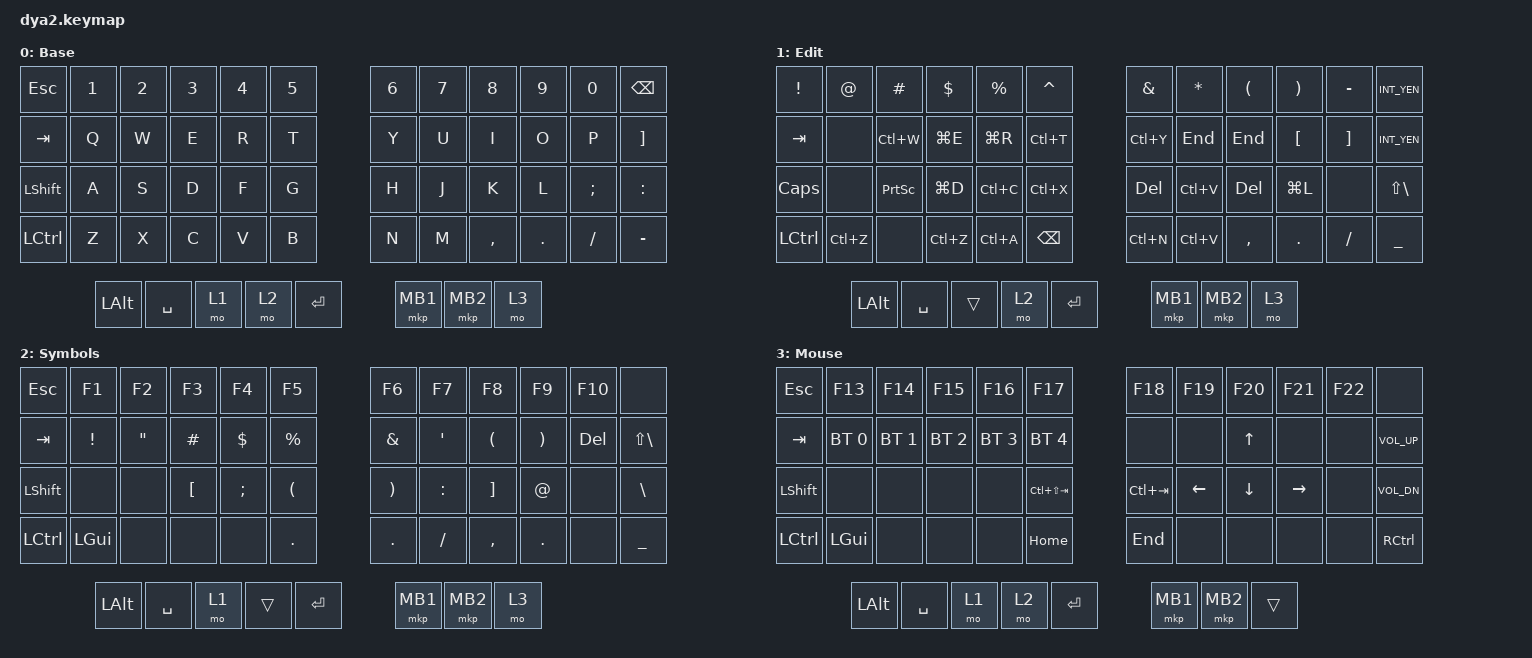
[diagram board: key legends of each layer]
#include <behaviors.dtsi>
#include <dt-bindings/zmk/bt.h>
#include <dt-bindings/zmk/keys.h>
#include <dt-bindings/zmk/mouse.h>

/ {
    keymap {
        compatible = "zmk,keymap";

        layer_0 {
            display-name = "Base";
            bindings = <
                &kp ESC    &kp N1 &kp N2 &kp N3 &kp N4 &kp N5      &kp N6 &kp N7 &kp N8 &kp N9 &kp N0 &kp BACKSPACE
                &kp TAB    &kp Q  &kp W  &kp E  &kp R  &kp T       &kp Y  &kp U  &kp I  &kp O  &kp P  &kp RBKT
                &kp LSHIFT &kp A  &kp S  &kp D  &kp F  &kp G       &kp H  &kp J  &kp K  &kp L  &kp SEMI &kp COLON
                &kp LCTRL  &kp Z  &kp X  &kp C  &kp V  &kp B       &kp N  &kp M  &kp COMMA &kp DOT &kp FSLH &kp MINUS

                           &kp LALT &kp SPACE &mo 1 &mo 2 &kp ENTER  &mkp MB1 &mkp MB2 &mo 3
            >;
        };

        layer_1 {
            display-name = "Edit";
            bindings = <
                &kp EXCL  &kp AT &kp HASH &kp DLLR &kp PRCNT &kp CARET       &kp AMPS &kp ASTERISK &kp LPAR &kp RPAR &kp MINUS &kp INT_YEN
                &kp TAB   &none &kp LC(W) &kp LG(E) &kp LG(R) &kp LC(T)      &kp LC(Y) &kp END &kp END &kp LBKT &kp RBKT &kp INT_YEN
                &kp CAPS  &none &kp PSCRN &kp LG(D) &kp LC(C) &kp LC(X)     &kp DEL &kp LC(V) &kp DEL &kp LG(L) &none &kp LS(BSLH)
                &kp LCTRL &kp LC(Z) &none &kp LC(Z) &kp LC(A) &kp BACKSPACE &kp LC(N) &kp LC(V) &kp COMMA &kp DOT &kp FSLH &kp UNDERSCORE

                          &kp LALT &kp SPACE &trans &mo 2 &kp ENTER           &mkp MB1 &mkp MB2 &mo 3
            >;
        };

        layer_2 {
            display-name = "Symbols";
            bindings = <
                &kp ESC    &kp F1 &kp F2 &kp F3 &kp F4 &kp F5               &kp F6 &kp F7 &kp F8 &kp F9 &kp F10 &none
                &kp TAB    &kp EXCL &kp DQT &kp HASH &kp DLLR &kp PRCNT     &kp AMPS &kp SQT &kp LPAR &kp RPAR &kp DEL &kp LS(BSLH)
                &kp LSHIFT &none &none &kp LBKT &kp SEMI &kp LPAR            &kp RPAR &kp COLON &kp RBKT &kp AT &none &kp BACKSLASH
                &kp LCTRL  &kp LGUI &none &none &none &kp DOT                &kp DOT &kp FSLH &kp COMMA &kp DOT &none &kp UNDERSCORE

                           &kp LALT &kp SPACE &mo 1 &trans &kp ENTER          &mkp MB1 &mkp MB2 &mo 3
            >;
        };

        layer_3 {
            display-name = "Mouse";
            bindings = <
                &kp ESC    &kp F13 &kp F14 &kp F15 &kp F16 &kp F17          &kp F18 &kp F19 &kp F20 &kp F21 &kp F22 &none
                &kp TAB    &bt BT_SEL 0 &bt BT_SEL 1 &bt BT_SEL 2 &bt BT_SEL 3 &bt BT_SEL 4  &none &none &kp UP &none &none &kp C_VOL_UP
                &kp LSHIFT &none &none &none &none &kp LC(LS(TAB))          &kp LC(TAB) &kp LEFT &kp DOWN &kp RIGHT &none &kp C_VOL_DN
                &kp LCTRL  &kp LGUI &none &none &none &kp HOME              &kp END &none &none &none &none &kp RCTRL

                           &kp LALT &kp SPACE &mo 1 &mo 2 &kp ENTER           &mkp MB1 &mkp MB2 &trans
            >;
        };
    };
};
